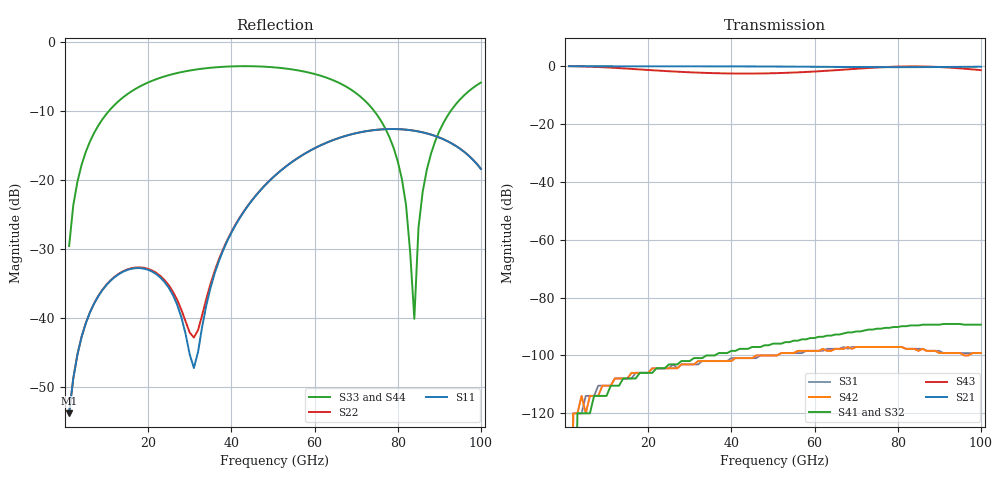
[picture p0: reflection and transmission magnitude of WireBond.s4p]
! File created by SignalIntegrity v1.1.13: Signal and Power Integrity Tools
! https://github.com/TeledyneLeCroy/SignalIntegrity
# MHz S MA R 50.0
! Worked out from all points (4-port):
!   100 points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, 1 GHz to 100 GHz, reference 50 ohm
!   strongest paths, dB at 1 GHz, 26 GHz, 51 GHz, 76 GHz, 100 GHz:
!     S21: 0.0, -0.1, -0.1, -0.4, -0.2
!     S43: 0.0, -1.8, -2.4, -0.4, -1.4
!     S41: -, -103.1, -95.9, -90.8, -89.4
!     S32: -, -103.1, -95.9, -90.8, -89.4
!     S42: -, -104.4, -100.0, -97.1, -99.2
!     S31: -, -103.1, -100.0, -97.1, -99.2
!   lowest |S11| = -53.9 dB at 1 GHz (marker M1), VSWR 1.00, Z = 50.2 - j0.116 ohm
!   |S11| at or under -10 dB: start of sweep to end of sweep
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1000  0.002025 -34.8  0.9982 -2.6  0 -8.5  0 -93.0
      0.9982 -2.6  0.002029 -34.8  0 -93.0  0 -8.5
      0 -8.5  0 -93.0  0.03299 83.7  0.9977 -3.3
      0 -93.0  0 -8.5  0.9977 -3.3  0.03299 83.7
15000  0.02214 -116.6  0.9941 -38.1  4e-06 -121.6  4e-06 -119.1
       0.9941 -38.1  0.02234 -114.5  4e-06 -119.2  4e-06 -121.4
       4e-06 -121.6  4e-06 -119.2  0.4155 43.2  0.905 -46.3
       4e-06 -119.1  4e-06 -121.4  0.905 -46.3  0.4155 43.1
31000  0.004314 -76.7  0.9916 -78.5  7e-06 -147.7  9e-06 -157.5
       0.9916 -78.5  0.007171 -77.6  9e-06 -157.5  7e-06 -147.5
       7e-06 -147.7  9e-06 -157.5  0.6233 4.3  0.7772 -85.5
       9e-06 -157.5  7e-06 -147.5  0.7772 -85.5  0.6234 4.1
58000  0.156 -57.7  0.9766 -147.1  1.2e-05 168.5  1.9e-05 135.0
       0.9766 -147.1  0.1562 -59.1  1.9e-05 135.0  1.2e-05 168.2
       1.2e-05 168.5  1.9e-05 135.0  0.6015 -52.0  0.7931 -142.2
       1.9e-05 135.0  1.2e-05 168.2  0.7931 -142.2  0.6015 -52.3
78000  0.2321 -106.6  0.9599 163.2  1.4e-05 102.1  3e-05 78.5
       0.9599 163.2  0.2322 -106.5  3.1e-05 77.1  1.4e-05 102.6
       1.4e-05 102.1  3.1e-05 77.1  0.2033 -105.0  0.9699 163.3
       3e-05 78.5  1.4e-05 102.6  0.9699 163.3  0.2033 -104.9
84000  0.2257 -121.2  0.9607 148.5  1.3e-05 72.3  3.3e-05 57.6
       0.9607 148.5  0.2258 -120.6  3.3e-05 57.4  1.3e-05 71.2
       1.3e-05 72.3  3.3e-05 57.4  0.009793 13.8  0.9897 143.1
       3.3e-05 57.6  1.3e-05 71.2  0.9897 143.1  0.01131 4.8
100000  0.1193 -160.5  0.977 108.3  1.1e-05 -29.6  3.4e-05 7.5
        0.977 108.3  0.1198 -156.8  3.4e-05 7.4  1.1e-05 -31.5
        1.1e-05 -29.6  3.4e-05 7.4  0.5046 2.0  0.8531 92.4
        3.4e-05 7.5  1.1e-05 -31.5  0.8531 92.4  0.5046 1.2
